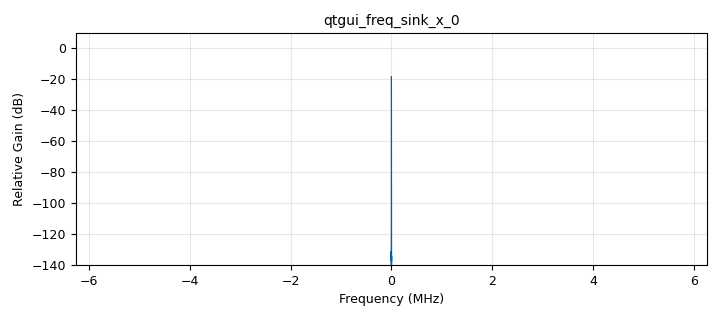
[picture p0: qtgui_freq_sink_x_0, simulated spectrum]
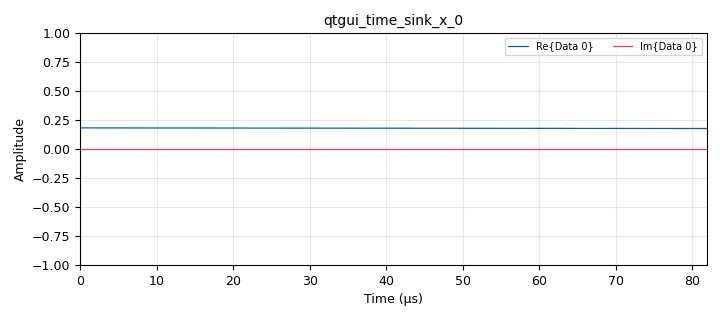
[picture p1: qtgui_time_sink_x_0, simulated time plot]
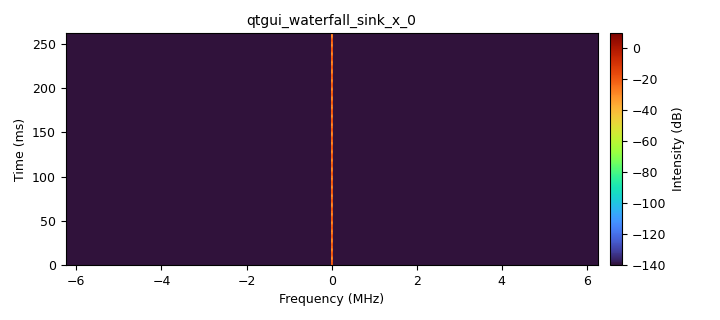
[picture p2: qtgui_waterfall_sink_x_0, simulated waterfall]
options:
  parameters:
    author: 'Matias Alvarez, Jeferson Uribe '
    copyright: UIS
    generate_options: qt_gui
    id: Mision0E1CG5
    output_language: python
    title: Mision0 E1C G5
  states: {}

blocks:
- name: Ac
  id: variable_qtgui_range
  parameters:
    start: '0'
    step: '0.01'
    stop: '0.5'
    value: '0.25'
  states: {}
- name: Am
  id: variable_qtgui_range
  parameters:
    label: Amplitud señal
    start: '0'
    step: '0.01'
    stop: '1'
    value: '0.5'
  states: {}
- name: FC
  id: variable_qtgui_range
  parameters:
    label: frecuencia_central MHz
    start: '50'
    step: '1'
    stop: '2220'
    value: '50'
  states: {}
- name: GTX
  id: variable_qtgui_range
  parameters:
    start: '0'
    step: '1'
    stop: '30'
    value: '0'
  states: {}
- name: Ka
  id: variable_qtgui_range
  parameters:
    start: '0'
    step: '0.1'
    stop: '3'
    value: '1'
  states: {}
- name: fm
  id: variable_qtgui_range
  parameters:
    start: '100'
    step: '1'
    stop: '20000'
    value: '100'
  states: {}
- name: samp_rate
  id: variable
  parameters:
    value: '12500000'
  states: {}
- name: analog_const_source_x_0
  id: analog_const_source_x
  parameters:
    const: Am
    type: complex
  states: {state: disabled}
- name: analog_sig_source_x_0
  id: analog_sig_source_x
  parameters:
    amp: Am
    freq: fm
    offset: '0'
    phase: '0'
    samp_rate: samp_rate
    type: float
    waveform: analog.GR_SIN_WAVE
  states: {}
- name: blocks_add_const_vxx_0
  id: blocks_add_const_vxx
  parameters:
    const: '1'
    type: float
  states: {}
- name: blocks_float_to_complex_0
  id: blocks_float_to_complex
  parameters: {}
  states: {}
- name: blocks_multiply_const_vxx_0
  id: blocks_multiply_const_vxx
  parameters:
    const: Ka
    type: float
  states: {}
- name: blocks_multiply_const_vxx_0_0
  id: blocks_multiply_const_vxx
  parameters:
    const: Ac
    type: complex
  states: {}
- name: qtgui_freq_sink_x_0
  id: qtgui_freq_sink_x
  parameters:
    bw: samp_rate
    fc: FC
    fftsize: '16384'
    type: complex
  states: {}
- name: qtgui_time_sink_x_0
  id: qtgui_time_sink_x
  parameters:
    size: '1024'
    srate: samp_rate
    type: complex
  states: {}
- name: qtgui_waterfall_sink_x_0
  id: qtgui_waterfall_sink_x
  parameters:
    bw: samp_rate
    fc: FC
    fftsize: '16384'
    type: complex
  states: {}
- name: uhd_usrp_sink_0_0
  id: uhd_usrp_sink
  parameters:
    ant0: '"TX/RX"'
    center_freq0: FC*1E6
    gain0: GTX
    samp_rate: samp_rate
    sync: none
    type: fc32
  states: {}

connections:
- [analog_const_source_x_0, '0', qtgui_freq_sink_x_0, '0']
- [analog_const_source_x_0, '0', qtgui_waterfall_sink_x_0, '0']
- [analog_const_source_x_0, '0', uhd_usrp_sink_0_0, '0']
- [analog_sig_source_x_0, '0', blocks_multiply_const_vxx_0, '0']
- [blocks_add_const_vxx_0, '0', blocks_float_to_complex_0, '0']
- [blocks_float_to_complex_0, '0', blocks_multiply_const_vxx_0_0, '0']
- [blocks_multiply_const_vxx_0, '0', blocks_add_const_vxx_0, '0']
- [blocks_multiply_const_vxx_0_0, '0', qtgui_freq_sink_x_0, '0']
- [blocks_multiply_const_vxx_0_0, '0', qtgui_time_sink_x_0, '0']
- [blocks_multiply_const_vxx_0_0, '0', qtgui_waterfall_sink_x_0, '0']
- [blocks_multiply_const_vxx_0_0, '0', uhd_usrp_sink_0_0, '0']

metadata:
  file_format: 1
  grc_version: v3.10.11.0-89-ga17f69e7
